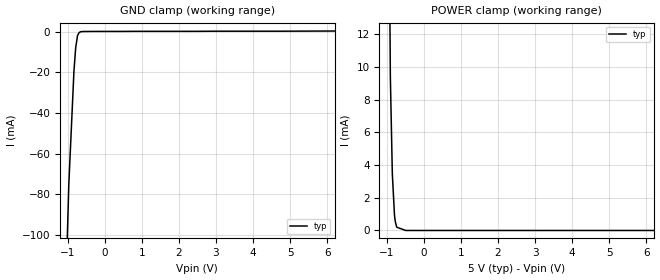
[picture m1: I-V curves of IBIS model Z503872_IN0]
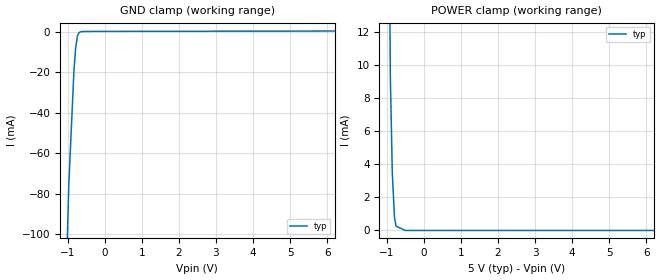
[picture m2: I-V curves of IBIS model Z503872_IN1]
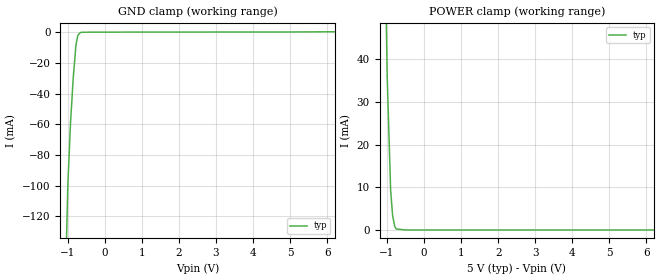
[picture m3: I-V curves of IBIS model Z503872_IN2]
| YOU ARE ONLY AUTHORIZED TO USE THIS SOFTWARE
| ACCORDING TO LICENSOR'S LICENSE RESTRICTIONS.
[IBIS Ver] 3.1
[File Name] mc74act573n.ibs
[File Rev] 2.0
[Source] Measured and created by ICX Technology
[Date] Friday 7/14/00 9:08:02 AM
[Copyright]
| (C) COPYRIGHT 1993-2000
| MENTOR GRAPHICS CORPORATION
| ICX STANDARD LIBRARY, ICX PROJECT MODELING,
| ICX CUSTOM MODELING, ICX VENDOR MODEL
| ALL RIGHTS RESERVED.
| THE FOLLOWING ARE TRADEMARKS OR SERVICE MARKS OF
| MENTOR GRAPHICS CORPORATION:ICX (R), ICX STANDARD
| LIBRARY(R), ICX PROJECT MODELING(R), ICX CUSTOM
| MODELING(R), qualityIBIS(TM), MODELVIEWER(TM),
| AND MODELEDITOR(TM)
| ALL COPIES OF SOFTWARE, INCLUDING BUT NOT LIMITED TO
| ANY MODIFICATIONS, ENHANCEMENTS OR DERIVATIVE WORKS,
| MUST CONTAIN ALL MENTOR GRAPHICS CORPORATION'S
| NOTICES AND LEGENDS, INCLUDING THOSE EMBEDDED IN
| SOFTWARE AND THOSE AFFIXED TO SOFTWARE MEDIUM
| AND CONTAINER, AS RECEIVED FROM MENTOR GRAPHICS
| CORPORATION.
|  ZAP Model Builder 2.7
[Component] MC74ACT573N
[Manufacturer] OnSemiconductor
[Package]
| variable   typ   min   max
R_pkg  .216ohms NA NA
L_pkg  5.76nH NA NA
C_pkg  1.29pF NA NA
[Pin] signal_name  model_name  R_pin  L_pin C_pin
1 _EN Z503872_IN0 .232 9.76n 1.87p
2 D0 Z503872_IN1 .224 7.26n 1.58p
3 D1 Z503872_IN1 .216 5.26n 1.29p
4 D2 Z503872_IN1 .208 3.76n 1.0p
5 D3 Z503872_IN1 .2 2.76n .71p
6 D4 Z503872_IN1 .2 2.76n .71p
7 D5 Z503872_IN1 .208 3.76n 1.0p
8 D6 Z503872_IN1 .216 5.26n 1.29p
9 D7 Z503872_IN1 .224 7.26n 1.58p
10 GND GND .232 9.76n 1.87p
11 CLK Z503872_IN2 .232 9.76n 1.87p
12 Q7 Z503872_TRI .224 7.26n 1.58p
13 Q6 Z503872_TRI .216 5.26n 1.29p
14 Q5 Z503872_TRI .208 3.76n 1.0p
15 Q4 Z503872_TRI .2 2.76n .71p
16 Q3 Z503872_TRI .2 2.76n .71p
17 Q2 Z503872_TRI .208 3.76n 1.0p
18 Q1 Z503872_TRI .216 5.26n 1.29p
19 Q0 Z503872_TRI .224 7.26n 1.58p
20 VCC POWER .232 9.76n 1.87p
| Models and submodels in the file (4): Z503872_IN0 (Input), Z503872_IN1 (Input), Z503872_IN2 (Input), Z503872_TRI (3-state)
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| (C) COPYRIGHT 1993-2000
| MENTOR GRAPHICS CORPORATION
| ICX STANDARD LIBRARY, ICX PROJECT MODELING,
| ICX CUSTOM MODELING, ICX VENDOR MODEL
| ALL RIGHTS RESERVED.
| THE FOLLOWING ARE TRADEMARKS OR SERVICE MARKS OF
| MENTOR GRAPHICS CORPORATION:ICX (R), ICX STANDARD
| LIBRARY(R), ICX PROJECT MODELING(R), ICX CUSTOM
| MODELING(R), qualityIBIS(TM), MODELVIEWER(TM),
| AND MODELEDITOR(TM)
| ALL COPIES OF SOFTWARE, INCLUDING BUT NOT LIMITED TO
| ANY MODIFICATIONS, ENHANCEMENTS OR DERIVATIVE WORKS,
| MUST CONTAIN ALL MENTOR GRAPHICS CORPORATION'S
| NOTICES AND LEGENDS, INCLUDING THOSE EMBEDDED IN
| SOFTWARE AND THOSE AFFIXED TO SOFTWARE MEDIUM
| AND CONTAINER, AS RECEIVED FROM MENTOR GRAPHICS
| CORPORATION.
| Model Application Version 1.89 2/18/99.
[Model] Z503872_IN0
Model_type Input
Vinl = 800.0mV
Vinh = 2.000V
C_comp 4.000pF NA NA
| variable typ   min   max
[Voltage Range] 5.000V NA NA
[GND Clamp Reference] 0.000V NA NA
[POWER Clamp Reference] 5.000V NA NA
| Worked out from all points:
|   GND clamp passes 1 mA (typ) near -0.70 V on its own axis
|   POWER clamp passes 1 mA (typ) near -0.79 V on its own axis
[GND Clamp]
-5V       -2.664A    NA         NA
-966.7mV  -75.17mA   NA         NA
-828mV    -19.4mA    NA         NA
-781.1mV  -7.911mA   NA         NA
-730.7mV  -1.844mA   NA         NA
-687.2mV  -423.3uA   NA         NA
-648.2mV  -17.41uA   NA         NA
10V       567.7uA    NA         NA
[POWER Clamp]
-5V       2.844A     NA         NA
-1.113V   94.6mA     NA         NA
-1.01V    41.2mA     NA         NA
-903mV    9.41mA     NA         NA
-850mV    3.496mA    NA         NA
-792mV    943.2uA    NA         NA
-771mV    557.6uA    NA         NA
-732mV    202.8uA    NA         NA
-488mV    0A         NA         NA
10V       0A         NA         NA
| (C) COPYRIGHT 1993-2000
| MENTOR GRAPHICS CORPORATION
| ICX STANDARD LIBRARY, ICX PROJECT MODELING,
| ICX CUSTOM MODELING, ICX VENDOR MODEL
| ALL RIGHTS RESERVED.
| THE FOLLOWING ARE TRADEMARKS OR SERVICE MARKS OF
| MENTOR GRAPHICS CORPORATION:ICX (R), ICX STANDARD
| LIBRARY(R), ICX PROJECT MODELING(R), ICX CUSTOM
| MODELING(R), qualityIBIS(TM), MODELVIEWER(TM),
| AND MODELEDITOR(TM)
| ALL COPIES OF SOFTWARE, INCLUDING BUT NOT LIMITED TO
| ANY MODIFICATIONS, ENHANCEMENTS OR DERIVATIVE WORKS,
| MUST CONTAIN ALL MENTOR GRAPHICS CORPORATION'S
| NOTICES AND LEGENDS, INCLUDING THOSE EMBEDDED IN
| SOFTWARE AND THOSE AFFIXED TO SOFTWARE MEDIUM
| AND CONTAINER, AS RECEIVED FROM MENTOR GRAPHICS
| CORPORATION.
| Model Application Version 1.89 2/18/99.
[Model] Z503872_IN1
Model_type Input
Vinl = 800.0mV
Vinh = 2.000V
C_comp 4.000pF NA NA
| variable typ   min   max
[Voltage Range] 5.000V NA NA
[GND Clamp Reference] 0.000V NA NA
[POWER Clamp Reference] 5.000V NA NA
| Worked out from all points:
|   GND clamp passes 1 mA (typ) near -0.71 V on its own axis
|   POWER clamp passes 1 mA (typ) near -0.80 V on its own axis
[GND Clamp]
-5V       -2.775A    NA         NA
-966.8mV  -75.53mA   NA         NA
-828.2mV  -19.37mA   NA         NA
-781.3mV  -7.857mA   NA         NA
-730.1mV  -1.813mA   NA         NA
-687.2mV  -410uA     NA         NA
-648.2mV  6.625uA    NA         NA
10V       603.8uA    NA         NA
[POWER Clamp]
-5V       2.713A     NA         NA
-1.113V   92.68mA    NA         NA
-1.011V   40.53mA    NA         NA
-903mV    9.313mA    NA         NA
-850mV    3.448mA    NA         NA
-792mV    839.1uA    NA         NA
-752mV    271uA      NA         NA
-501.3mV  0A         NA         NA
10V       0A         NA         NA
| (C) COPYRIGHT 1993-2000
| MENTOR GRAPHICS CORPORATION
| ICX STANDARD LIBRARY, ICX PROJECT MODELING,
| ICX CUSTOM MODELING, ICX VENDOR MODEL
| ALL RIGHTS RESERVED.
| THE FOLLOWING ARE TRADEMARKS OR SERVICE MARKS OF
| MENTOR GRAPHICS CORPORATION:ICX (R), ICX STANDARD
| LIBRARY(R), ICX PROJECT MODELING(R), ICX CUSTOM
| MODELING(R), qualityIBIS(TM), MODELVIEWER(TM),
| AND MODELEDITOR(TM)
| ALL COPIES OF SOFTWARE, INCLUDING BUT NOT LIMITED TO
| ANY MODIFICATIONS, ENHANCEMENTS OR DERIVATIVE WORKS,
| MUST CONTAIN ALL MENTOR GRAPHICS CORPORATION'S
| NOTICES AND LEGENDS, INCLUDING THOSE EMBEDDED IN
| SOFTWARE AND THOSE AFFIXED TO SOFTWARE MEDIUM
| AND CONTAINER, AS RECEIVED FROM MENTOR GRAPHICS
| CORPORATION.
| Model Application Version 1.89 2/18/99.
[Model] Z503872_IN2
Model_type Input
Vinl = 800.0mV
Vinh = 2.000V
C_comp 4.000pF NA NA
| variable typ   min   max
[Voltage Range] 5.000V NA NA
[GND Clamp Reference] 0.000V NA NA
[POWER Clamp Reference] 5.000V NA NA
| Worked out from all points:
|   GND clamp passes 1 mA (typ) near -0.70 V on its own axis
|   POWER clamp passes 1 mA (typ) near -0.80 V on its own axis
[GND Clamp]
-5V       -4.048A    NA         NA
-1V       -99.1mA    NA         NA
-927.5mV  -58.63mA   NA         NA
-854.8mV  -29.66mA   NA         NA
-781.3mV  -8.175mA   NA         NA
-730.5mV  -1.887mA   NA         NA
-667.5mV  -156.8uA   NA         NA
10V       915.4uA    NA         NA
[POWER Clamp]
-5V       3.026A     NA         NA
-1.122V   104.3mA    NA         NA
-996mV    35.8mA     NA         NA
-903mV    9.33mA     NA         NA
-850mV    3.403mA    NA         NA
-792mV    802.1uA    NA         NA
-752mV    234.2uA    NA         NA
-501.3mV  0A         NA         NA
10V       0A         NA         NA
